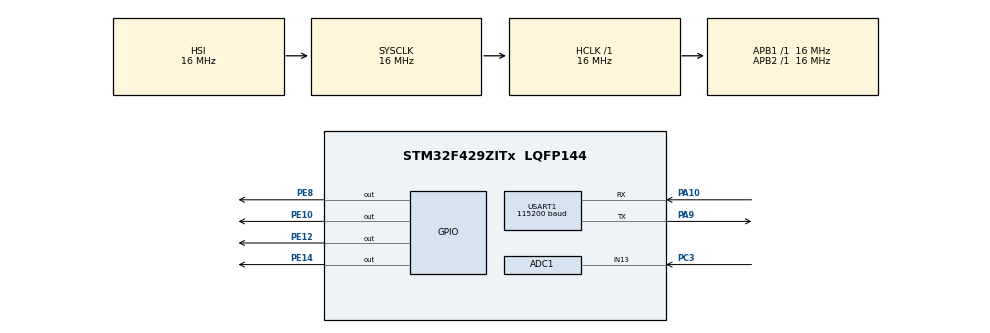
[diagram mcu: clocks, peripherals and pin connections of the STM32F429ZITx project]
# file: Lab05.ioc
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ADC1.Channel-0\#ChannelRegularConversion=ADC_CHANNEL_13
ADC1.ContinuousConvMode=ENABLE
ADC1.DataAlign=ADC_DATAALIGN_RIGHT
ADC1.EOCSelection=ADC_EOC_SEQ_CONV
ADC1.NbrOfConversionFlag=1
ADC1.Rank-0\#ChannelRegularConversion=1
ADC1.SamplingTime-0\#ChannelRegularConversion=ADC_SAMPLETIME_3CYCLES
ADC1.master=1
Mcu.Family=STM32F4
Mcu.Name=STM32F429ZITx
Mcu.Package=LQFP144
NVIC.PriorityGroup=NVIC_PRIORITYGROUP_4
PA10.Mode=Asynchronous
PA10.Signal=USART1_RX
PA9.Mode=Asynchronous
PA9.Signal=USART1_TX
PC3.Signal=ADCx_IN13
PE10.Signal=GPIO_Output
PE12.Signal=GPIO_Output
PE14.Signal=GPIO_Output
PE8.Signal=GPIO_Output
ProjectManager.HeapSize=0x200
ProjectManager.StackSize=0x400
ProjectManager.TargetToolchain=STM32CubeIDE
RCC.AHBFreq_Value=16000000
RCC.APB1Freq_Value=16000000
RCC.APB2Freq_Value=16000000
RCC.CortexFreq_Value=16000000
RCC.HSE_VALUE=25000000
RCC.HSI_VALUE=16000000
RCC.LSE_VALUE=32768
RCC.SYSCLKFreq_VALUE=16000000
RCC.VCOOutputFreq_Value=192000000
SH.ADCx_IN13.0=ADC1_IN13,IN13
USART1.BaudRate=115200
USART1.VirtualMode=VM_ASYNC
board=custom

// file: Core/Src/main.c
/* USER CODE BEGIN Header */
/**
  ******************************************************************************
  * @file           : main.c
  * @brief          : Main program body
  ******************************************************************************
  * @attention
  *
  * <h2><center>&copy; Copyright (c) 2021 STMicroelectronics.
  * All rights reserved.</center></h2>
  *
  * This software component is licensed by ST under BSD 3-Clause license,
  * the "License"; You may not use this file except in compliance with the
  * License. You may obtain a copy of the License at:
  *                        opensource.org/licenses/BSD-3-Clause
  *
  ******************************************************************************
  */
/* USER CODE END Header */
#include "main.h"
#include "adc.h"
#include "usart.h"
#include "gpio.h"

/* USER CODE BEGIN Includes */
#include "string.h"
/* USER CODE END Includes */

void SystemClock_Config(void);

/* USER CODE BEGIN 0 */
volatile uint32_t adc_val = 0;
volatile uint32_t adc_avg_8 = 0;
volatile uint32_t adc_avg_16 = 0;

void displayHEX(uint32_t value){

	char hexString[100];

	sprintf(hexString,"ADC1_CH13 0x%08X Vin = %.2f V RawValue = %d\r\n", value, (float)value*3.3/4096.0, value);
	HAL_UART_Transmit(&huart1, (uint8_t*) hexString, strlen(hexString), 100);
	HAL_Delay(50);
}

int average_8(int x){
	static int samples[8];
	static int i = 0;
	static int total = 0;

	/* Update the moving average */
	total += x - samples[i];
	samples[i] = x;

	/* Update the Index */
	i = (i==7? 0 : i+1);

	return total >> 3;
}

int average_16(int x){
	static int samples[16];
	static int i = 0;
	static int total = 0;

	/* Update the moving average */
	total += x - samples[i];
	samples[i] = x;

	/* Update the index */
	i = (i==15? 0 : i+1);

	return total >> 4;
}

uint32_t adcLevel(int lv){

	uint32_t value = 4095.0*lv/5.0;	// 0-4950

	return value;
}

/* USER CODE END 0 */

int main(void)
{

  /* MCU Configuration--------------------------------------------------------*/

  /* Reset of all peripherals, Initializes the Flash interface and the Systick. */
  HAL_Init();

  /* Configure the system clock */
  SystemClock_Config();

  /* Initialize all configured peripherals */
  MX_GPIO_Init();
  MX_ADC1_Init();
  MX_USART1_UART_Init();
  /* USER CODE BEGIN 2 */

  HAL_ADC_Start(&hadc1);

  uint32_t lv1 = adcLevel(1); // 0-819
  uint32_t lv2 = adcLevel(2); // 819-1638
  uint32_t lv3 = adcLevel(3); // 1638-2457
  uint32_t lv4 = adcLevel(4); // 2457-3276
  uint32_t lv5 = adcLevel(5); // 3276-4095

  /* USER CODE END 2 */

  /* Infinite loop */
  /* USER CODE BEGIN WHILE */
  while (1)
  {

	  while(HAL_ADC_PollForConversion(&hadc1, 100) != HAL_OK){}
	  adc_val = HAL_ADC_GetValue(&hadc1);
	  adc_avg_8 = average_8(adc_val);
	  adc_avg_16 = average_16(adc_val);
	  displayHEX(adc_val);

	  //use avg_18 because avg_16 too slow

	  if(adc_avg_8 <= lv1){
		  	  	  	  	  //RESET SET
		  GPIOE -> BSRR = (0x00005500); //Pin 14 12 10 8
	  }else if(adc_avg_8 <= lv2){
		  	  	  	  	  //RESET SET
		  GPIOE -> BSRR = (0x01005400);
	  }else if(adc_avg_8 <= lv3){
		  	  	  	  	  //RESET SET
		  GPIOE -> BSRR = (0x05005000);
	  }else if(adc_avg_8 <= lv4){
	  	  	  	  	  	  //RESET SET
		  GPIOE -> BSRR = (0x15004000);
	  }else if(adc_avg_8 <= lv5){
	  	  	  	  	  	  //RESET SET
		  GPIOE -> BSRR = (0x55000000);
	  }

    /* USER CODE END WHILE */

  }
}

void SystemClock_Config(void)
{
  RCC_OscInitTypeDef RCC_OscInitStruct = {0};
  RCC_ClkInitTypeDef RCC_ClkInitStruct = {0};

  /** Configure the main internal regulator output voltage
  */
  __HAL_RCC_PWR_CLK_ENABLE();
  __HAL_PWR_VOLTAGESCALING_CONFIG(PWR_REGULATOR_VOLTAGE_SCALE3);
  /** Initializes the RCC Oscillators according to the specified parameters
  * in the RCC_OscInitTypeDef structure.
  */
  RCC_OscInitStruct.OscillatorType = RCC_OSCILLATORTYPE_HSI;
  RCC_OscInitStruct.HSIState = RCC_HSI_ON;
  RCC_OscInitStruct.HSICalibrationValue = RCC_HSICALIBRATION_DEFAULT;
  RCC_OscInitStruct.PLL.PLLState = RCC_PLL_NONE;
  if (HAL_RCC_OscConfig(&RCC_OscInitStruct) != HAL_OK)
  {
    Error_Handler();
  }
  /** Initializes the CPU, AHB and APB buses clocks
  */
  RCC_ClkInitStruct.ClockType = RCC_CLOCKTYPE_HCLK|RCC_CLOCKTYPE_SYSCLK
                              |RCC_CLOCKTYPE_PCLK1|RCC_CLOCKTYPE_PCLK2;
  RCC_ClkInitStruct.SYSCLKSource = RCC_SYSCLKSOURCE_HSI;
  RCC_ClkInitStruct.AHBCLKDivider = RCC_SYSCLK_DIV1;
  RCC_ClkInitStruct.APB1CLKDivider = RCC_HCLK_DIV1;
  RCC_ClkInitStruct.APB2CLKDivider = RCC_HCLK_DIV1;

  if (HAL_RCC_ClockConfig(&RCC_ClkInitStruct, FLASH_LATENCY_0) != HAL_OK)
  {
    Error_Handler();
  }
}

void Error_Handler(void)
{
  __disable_irq();
  while (1)
  {
  }
}

/************************ (C) COPYRIGHT STMicroelectronics *****END OF FILE****/
